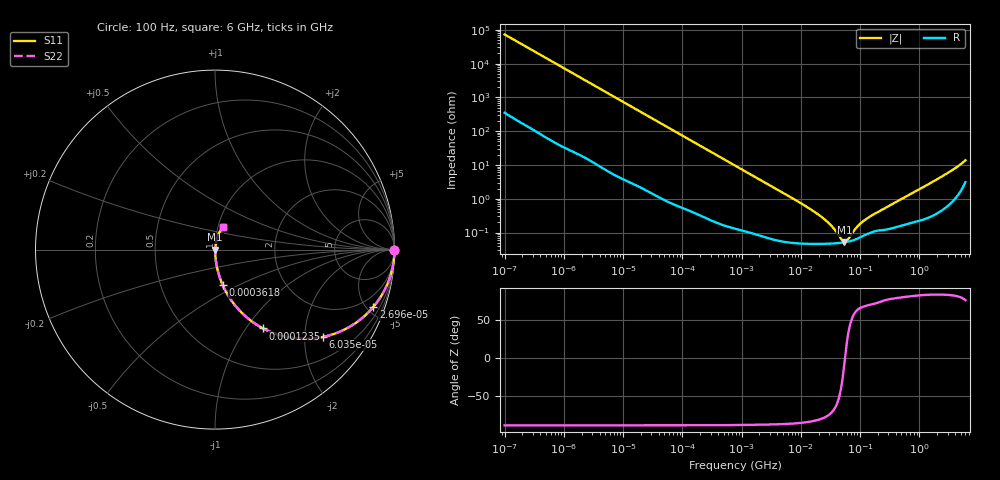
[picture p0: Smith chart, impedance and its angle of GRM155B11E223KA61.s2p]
!Murata Part Number: GRM155B11E223KA61
!These Parameters are Measured in Series Mode Connection
!Data Generated on Mar 30, 2021
!  o--ll--o
!Port1  Port2
!  o------o
!Operation Temp=25[degC], DC Bias Voltage=0[V]
!Freq. Start=100[Hz] Stop=6[GHz] 401[Steps]
# Hz S RI R 50
!Freq.(Hz) S11(Real) S11(Imag) S21(Real) S21(Imag) S12(Real) S12(Imag) S22(Real) S22(Imag)
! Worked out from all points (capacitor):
!   401 points, 100 Hz to 6 GHz, reference 50 ohm
!   read as one part in series: C = 21.8 nF near 109 Hz
!   lowest |Z| = 51.8 mohm at 54.5 MHz (marker M1)
!   series resonance near 55.74 MHz, so ESL is about 370 pH
!   S11 on the Smith chart (normalised r, x): 100 Hz: open; 26.96 kHz: 1.03, -5.49; 60.35 kHz: 1.02, -2.46; 123.5 kHz: 1.01, -1.21; 361.8 kHz: 1.00, -0.41; 6 GHz: 1.06, +0.27
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100  1 -0.00137  8.5e-06 0.00137  8.5e-06 0.00137  1 -0.00137
2008  0.9991 -0.0273  0.000885 0.0273  0.000885 0.0273  0.9991 -0.0273
8801  0.9854 -0.1175  0.0146 0.1175  0.0146 0.1175  0.9854 -0.1175
26957  0.8815 -0.3203  0.1185 0.3203  0.1185 0.3203  0.8815 -0.3203
40335  0.7703 -0.4177  0.2297 0.4177  0.2297 0.4177  0.7703 -0.4177
60352  0.6014 -0.4865  0.3986 0.4865  0.3986 0.4865  0.6014 -0.4865
123542  0.2679 -0.4391  0.7321 0.4391  0.7321 0.4391  0.2679 -0.4391
202169  0.122 -0.323  0.878 0.323  0.878 0.323  0.122 -0.323
361830  0.0428 -0.1975  0.9572 0.1975  0.9572 0.1975  0.0428 -0.1975
774597  0.0106 -0.0958  0.9894 0.0958  0.9894 0.0958  0.0106 -0.0958
2481164  0.00165 -0.0304  0.9983 0.0304  0.9983 0.0304  0.00165 -0.0304
1.555665e7  0.000481 -0.00451  0.9995 0.00451  0.9995 0.00451  0.000481 -0.00451
2.911731e7  0.00047 -0.0019  0.9995 0.0019  0.9995 0.0019  0.00047 -0.0019
3.64232e7  0.000478 -0.0012  0.9995 0.0012  0.9995 0.0012  0.000478 -0.0012
4.983056e7  0.000502 -0.000306  0.9995 0.000306  0.9995 0.000306  0.000502 -0.000306
5.449875e7  0.000514 -6.06e-05  0.9995 6.06e-05  0.9995 6.06e-05  0.000514 -6.06e-05
6.233367e7  0.000536 0.000307  0.9995 -0.000307  0.9995 -0.000307  0.000536 0.000307
8.527865e7  0.000633 0.00119  0.9994 -0.00119  0.9994 -0.00119  0.000633 0.00119
1.115611e8  0.0008 0.00197  0.9992 -0.00197  0.9992 -0.00197  0.0008 0.00197
3.124326e8  0.00131 0.00609  0.9987 -0.00609  0.9987 -0.00609  0.00131 0.00609
2.240541e9  0.00589 0.0417  0.9941 -0.0417  0.9941 -0.0417  0.00589 0.0417
6e9  0.0461 0.1235  0.9539 -0.1235  0.9539 -0.1235  0.0461 0.1235
